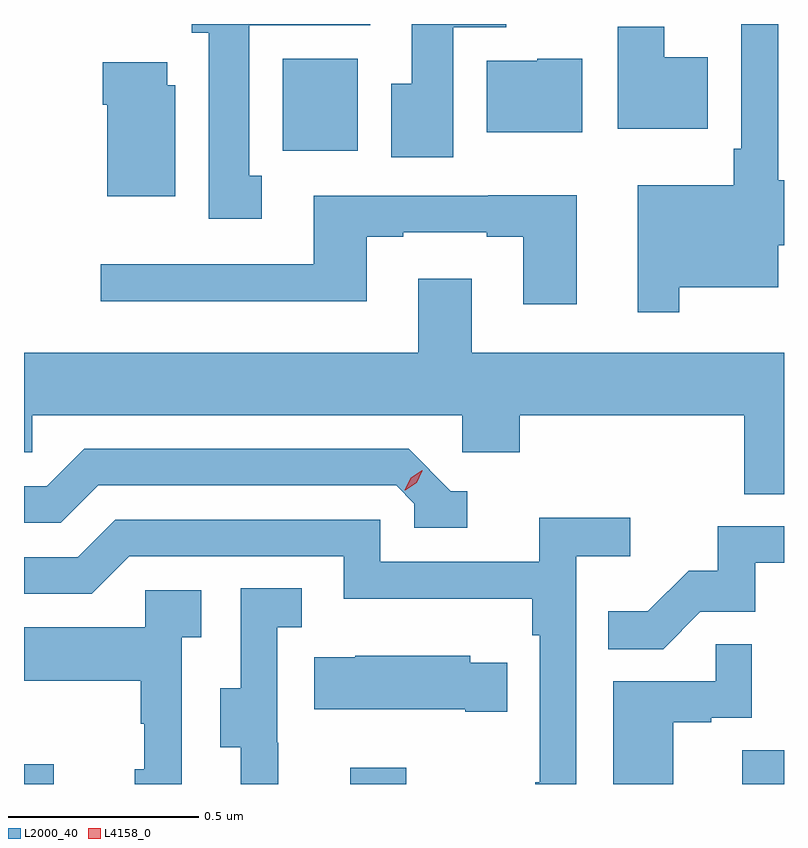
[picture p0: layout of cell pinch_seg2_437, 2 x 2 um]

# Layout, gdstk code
import gdstk
lib = gdstk.Library(unit=1e-6, precision=1e-09)
def R(c, l, rs):  # rectangles x0, y0, x1, y1
    for r in rs: c.add(gdstk.rectangle(r[:2], r[2:], *l))
def P(c, l, *ps):  # polygons
    for p in ps: c.add(gdstk.Polygon(p, *l))
L2000_40 = (2000, 40)
L4158_0 = (4158, 0)

pinch_seg2_437 = lib.new_cell('pinch_seg2_437')
R(pinch_seg2_437, L2000_40, [(932.579,622.689,932.657,622.741), (933.437,622.689,933.585,622.732), (934.469,622.689,934.579,622.778), (933.26,624.356,933.457,624.598)])
P(pinch_seg2_437, L2000_40, [(934.303,623.996),(934.564,623.996),(934.564,624.107),(934.579,624.107),(934.579,624.278),(934.564,624.278),(934.564,624.689),(934.467,624.689),(934.467,624.361),(934.447,624.361),(934.447,624.265),(934.194,624.265),(934.194,623.931),(934.303,623.931)],
  [(933.709,624.68),(933.848,624.68),(933.848,624.689),(933.599,624.689),(933.599,624.532),(933.545,624.532),(933.545,624.339),(933.709,624.339)],
  [(933.205,624.29),(933.172,624.29),(933.172,624.686),(933.49,624.686),(933.49,624.689),(933.02,624.689),(933.02,624.666),(933.065,624.666),(933.065,624.177),(933.205,624.177)],
  [(934.378,624.601),(934.264,624.601),(934.264,624.682),(934.142,624.682),(934.142,624.413),(934.378,624.413)],
  [(934.048,624.598),(933.93,624.598),(933.93,624.592),(933.797,624.592),(933.797,624.404),(934.048,624.404)],
  [(932.977,624.528),(932.956,624.528),(932.956,624.589),(932.786,624.589),(932.786,624.476),(932.798,624.476),(932.798,624.236),(932.977,624.236)],
  [(934.033,624.238),(933.801,624.238),(933.801,624.237),(933.341,624.237),(933.341,624.057),(932.781,624.057),(932.781,623.96),(933.481,623.96),(933.481,624.129),(933.577,624.129),(933.577,624.141),(933.797,624.141),(933.797,624.129),(933.893,624.129),(933.893,623.952),(934.033,623.952)],
  [(934.579,623.824),(933.757,623.824),(933.757,624.019),(933.617,624.019),(933.617,623.824),(932.579,623.824),(932.579,623.562),(932.601,623.562),(932.601,623.66),(933.732,623.66),(933.732,623.562),(933.884,623.562),(933.884,623.66),(934.475,623.66),(934.475,623.452),(934.579,623.452)],
  [(933.745,623.46),(933.702,623.46),(933.591,623.571),(932.738,623.571),(932.639,623.472),(932.579,623.472),(932.579,623.376),(932.676,623.376),(932.775,623.475),(933.558,623.475),(933.606,623.427),(933.606,623.364),(933.745,623.364)],
  [(934.032,623.288),(934.174,623.288),(934.174,623.39),(933.935,623.39),(933.935,623.274),(933.516,623.274),(933.516,623.385),(932.819,623.385),(932.72,623.286),(932.579,623.286),(932.579,623.19),(932.757,623.19),(932.856,623.289),(933.42,623.289),(933.42,623.177),(933.916,623.177),(933.916,623.081),(933.936,623.081),(933.936,622.693),(933.924,622.693),(933.924,622.689),(934.032,622.689)],
  [(934.359,623.142),(934.503,623.142),(934.503,623.271),(934.579,623.271),(934.579,623.367),(934.405,623.367),(934.405,623.25),(934.328,623.25),(934.221,623.143),(934.117,623.143),(934.117,623.044),(934.261,623.044)],
  [(933.248,622.797),(933.246,622.797),(933.246,623.101),(933.31,623.101),(933.31,623.204),(933.15,623.204),(933.15,622.941),(933.095,622.941),(933.095,622.786),(933.149,622.786),(933.149,622.689),(933.248,622.689)],
  [(932.994,623.075),(933.046,623.075),(933.046,623.199),(932.898,623.199),(932.898,623.101),(932.579,623.101),(932.579,622.961),(932.886,622.961),(932.886,622.847),(932.896,622.847),(932.896,622.728),(932.87,622.728),(932.87,622.689),(932.994,622.689)],
  [(934.288,622.851),(934.388,622.851),(934.388,622.863),(934.494,622.863),(934.494,623.057),(934.399,623.057),(934.399,622.959),(934.13,622.959),(934.13,622.689),(934.288,622.689)],
  [(933.851,623.008),(933.753,623.008),(933.753,623.026),(933.451,623.026),(933.451,623.023),(933.343,623.023),(933.343,622.886),(933.74,622.886),(933.74,622.879),(933.851,622.879)])
P(pinch_seg2_437, L4158_0, [(933.581,623.462),(933.581,623.462),(933.597,623.495),(933.627,623.515),(933.627,623.515),(933.627,623.514),(933.612,623.482),(933.582,623.462)])

lib.write_gds('pinch_seg2_437.gds')
